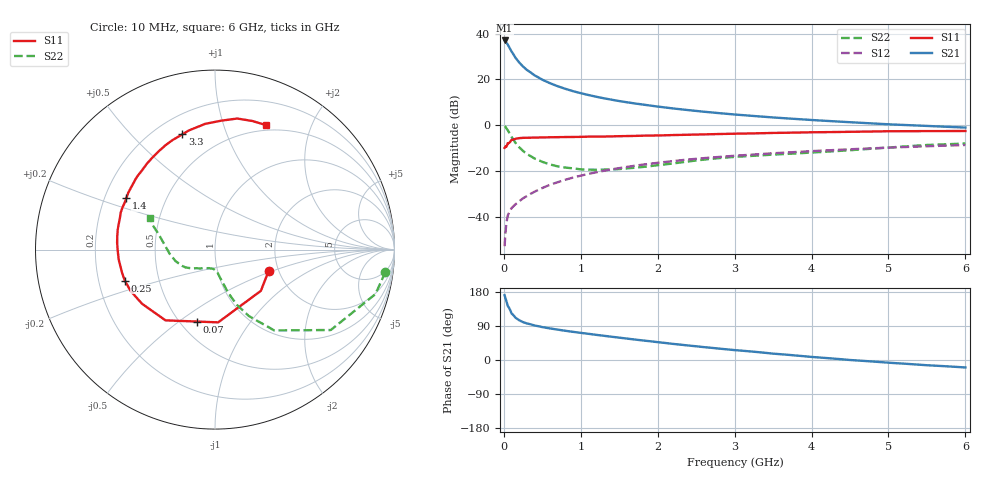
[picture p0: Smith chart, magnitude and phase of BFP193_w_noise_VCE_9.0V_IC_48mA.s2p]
! Infineon Technologies  Discrete & RF Semiconductors
! BFP193
! VCE =  9.0 V,  IC =  48 mA
! Common Emitter S-Parameters:  Jan 2017
# GHz  S  MA  R  50
!  f  S11  S21  S12  S22
! GHz  MAG  ANG  MAG  ANG  MAG  ANG  MAG  ANG
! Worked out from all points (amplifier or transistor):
!   77 points, 10 MHz to 6 GHz, reference 50 ohm
!   highest |S21| = 37.0 dB at 10 MHz (marker M1)
!   |S21| within 3 dB of that: start of sweep to 70.59 MHz
!   unconditionally stable (mu >= 1): 636.6 MHz to 2.391 GHz
!   at 130 MHz: K = 0.57, MSG = 32.9 dB, |S12| = -35.1 dB
!   at 2.2 GHz: K = 1.01, MAG = 10.9 dB, |S12| = -15.6 dB
!   at 6 GHz: K = 0.91, MSG = 3.8 dB, |S12| = -8.6 dB
!   lowest NFmin = 1.49 dB at 450 MHz
!   S11 on the Smith chart (normalised r, x): 10 MHz: 1.78, -0.46; 70 MHz: 0.61, -0.58; 250 MHz: 0.31, -0.15; 1.4 GHz: 0.29, +0.25; 3.3 GHz: 0.31, +0.71; 6 GHz: 0.44, +1.39
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0.01  0.3214 -21.3  70.82 171.0  0.0023 77.1  0.9576 -7.5
0.02  0.3437 -41.9  69.31 163.3  0.0044 75.6  0.9276 -15.5
0.05  0.4058 -87.5  57.92 143.2  0.0106 66.5  0.7853 -34.8
0.07  0.4131 -104.0  50.35 136.7  0.0125 63.0  0.686 -40.9
0.1  0.4811 -125.0  40.75 122.8  0.0155 59.5  0.5579 -53.8
0.15  0.5062 -143.4  29.94 111.8  0.0188 57.2  0.4153 -63.0
0.2  0.5235 -153.8  23.4 104.9  0.0219 60.9  0.3308 -68.4
0.25  0.5315 -161.1  19.11 99.9  0.0255 60.9  0.2749 -71.4
0.3  0.5337 -166.2  16.08 96.5  0.0286 62.7  0.235 -73.9
0.4  0.5392 -173.9  12.25 91.0  0.0355 65.3  0.1876 -76.9
0.5  0.5423 -179.5  9.858 86.8  0.0427 66.4  0.1592 -79.7
0.6  0.5468 175.8  8.271 83.3  0.0503 66.9  0.1396 -82.2
0.7  0.5498 172.0  7.103 80.2  0.0572 68.0  0.1266 -84.0
0.9  0.5551 165.0  5.541 74.3  0.0724 66.9  0.1146 -89.8
1.1  0.5645 158.5  4.567 69.1  0.0867 65.7  0.1078 -95.8
1.4  0.5716 149.7  3.614 61.4  0.1091 63.4  0.1082 -107.0
2.1  0.6044 130.8  2.441 44.9  0.1584 55.2  0.1403 -131.9
3.1  0.6582 109.4  1.666 24.5  0.2215 43.1  0.2087 -155.9
3.3  0.6677 105.8  1.569 20.9  0.2329 40.8  0.2183 -160.0
4.1  0.7053 92.9  1.273 6.6  0.2776 31.5  0.2595 -177.4
5.1  0.7409 79.1  1.032 -8.4  0.3297 20.1  0.335 163.3
6  0.7494 67.9  0.891 -19.7  0.3706 10.1  0.3993 154.2
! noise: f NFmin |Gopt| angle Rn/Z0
0.45  1.49  0.42  -171  0.08
0.9  1.54  0.44  -164  0.08
1.9  2.17  0.61  -132  0.22
2.4  2.5  0.64  -119  0.47
